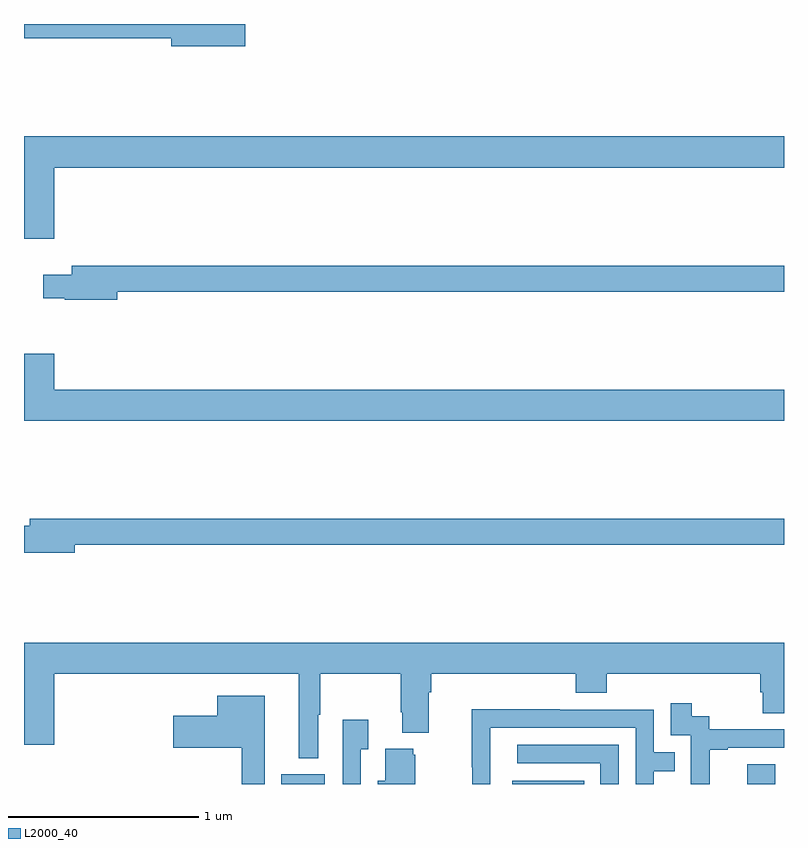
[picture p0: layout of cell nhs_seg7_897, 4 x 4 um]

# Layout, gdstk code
import gdstk
lib = gdstk.Library(unit=1e-6, precision=1e-09)
def R(c, l, rs):  # rectangles x0, y0, x1, y1
    for r in rs: c.add(gdstk.rectangle(r[:2], r[2:], *l))
def P(c, l, *ps):  # polygons
    for p in ps: c.add(gdstk.Polygon(p, *l))
L2000_40 = (2000, 40)

nhs_seg7_897 = lib.new_cell('nhs_seg7_897')
R(nhs_seg7_897, L2000_40, [(178.355,1036,178.582,1036.051), (179.57,1036,179.948,1036.018), (180.807,1036,180.954,1036.105)])
P(nhs_seg7_897, L2000_40, [(178.165,1040),(177,1040),(177,1039.924),(177.776,1039.924),(177.776,1039.882),(178.165,1039.882)],
  [(177.16,1039.244),(181,1039.244),(181,1039.408),(177,1039.408),(177,1038.87),(177.16,1038.87)],
  [(177.49,1038.592),(181,1038.592),(181,1038.728),(177.251,1038.728),(177.251,1038.679),(177.102,1038.679),(177.102,1038.557),(177.214,1038.557),(177.214,1038.55),(177.49,1038.55)],
  [(181,1038.076),(177.16,1038.076),(177.16,1038.265),(177,1038.265),(177,1037.912),(181,1037.912)],
  [(177.268,1037.26),(181,1037.26),(181,1037.396),(177.029,1037.396),(177.029,1037.36),(177,1037.36),(177,1037.218),(177.268,1037.218)],
  [(178.549,1036.364),(178.559,1036.364),(178.559,1036.58),(178.984,1036.58),(178.984,1036.378),(178.991,1036.378),(178.991,1036.271),(179.131,1036.271),(179.131,1036.484),(179.144,1036.484),(179.144,1036.58),(179.903,1036.58),(179.903,1036.481),(180.068,1036.481),(180.068,1036.58),(180.875,1036.58),(180.875,1036.482),(180.887,1036.482),(180.887,1036.372),(181,1036.372),(181,1036.744),(177,1036.744),(177,1036.206),(177.16,1036.206),(177.16,1036.58),(178.445,1036.58),(178.445,1036.136),(178.549,1036.136)],
  [(178.267,1036.465),(178.016,1036.465),(178.016,1036.36),(177.786,1036.36),(177.786,1036.19),(178.146,1036.19),(178.146,1036),(178.267,1036)],
  [(180.608,1036.179),(180.703,1036.179),(180.703,1036.191),(181,1036.191),(181,1036.287),(180.606,1036.287),(180.606,1036.356),(180.514,1036.356),(180.514,1036.426),(180.405,1036.426),(180.405,1036.257),(180.51,1036.257),(180.51,1036.028),(180.509,1036.028),(180.509,1036),(180.608,1036)],
  [(179.454,1036.296),(180.219,1036.296),(180.219,1036),(180.315,1036),(180.315,1036.066),(180.425,1036.066),(180.425,1036.167),(180.315,1036.167),(180.315,1036.392),(179.819,1036.392),(179.819,1036.394),(179.356,1036.394),(179.356,1036.087),(179.358,1036.087),(179.358,1036),(179.454,1036)],
  [(178.773,1036.183),(178.813,1036.183),(178.813,1036.339),(178.677,1036.339),(178.677,1036),(178.773,1036)],
  [(180.129,1036.206),(179.595,1036.206),(179.595,1036.11),(180.033,1036.11),(180.033,1036),(180.129,1036)],
  [(179.059,1036.155),(179.048,1036.155),(179.048,1036.186),(178.901,1036.186),(178.901,1036.018),(178.862,1036.018),(178.862,1036),(179.059,1036)])

lib.write_gds('nhs_seg7_897.gds')
